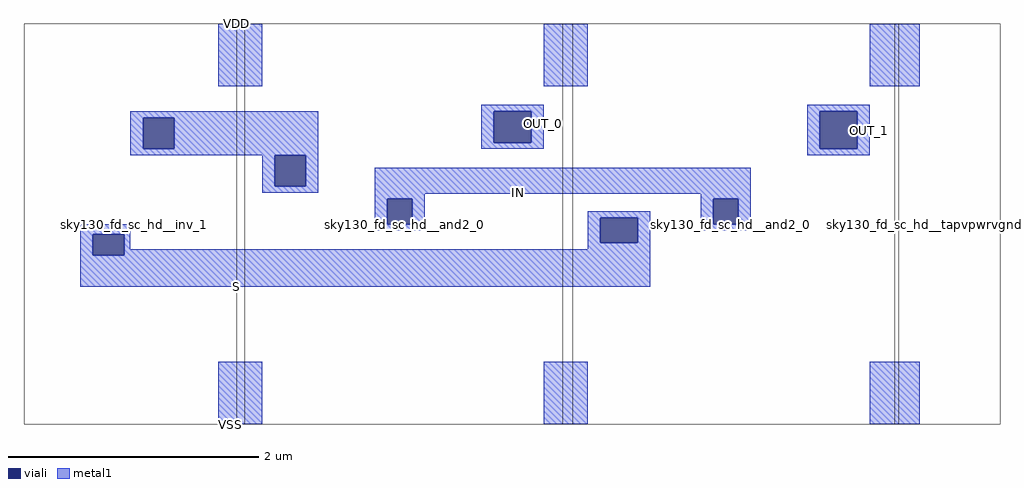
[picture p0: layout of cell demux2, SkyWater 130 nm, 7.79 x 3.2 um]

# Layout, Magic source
magic
tech sky130A
<< viali >>
rect 65 470 90 495
rect 345 475 375 500
rect 605 470 635 500
rect 170 440 195 465
rect 260 410 280 430
rect 25 385 50 402
rect 430 395 460 415
rect 520 410 540 430
<< metal1 >>
rect 125 520 160 570
rect 385 520 420 570
rect 645 520 685 570
rect 335 500 385 505
rect 55 495 205 500
rect 55 470 65 495
rect 90 470 205 495
rect 335 475 345 500
rect 375 475 385 500
rect 335 470 385 475
rect 595 500 645 505
rect 595 470 605 500
rect 635 470 645 500
rect 55 465 205 470
rect 595 465 645 470
rect 160 440 170 465
rect 195 440 205 465
rect 160 435 205 440
rect 250 434 550 455
rect 250 430 290 434
rect 250 410 260 430
rect 280 410 290 430
rect 510 430 550 434
rect 15 402 55 410
rect 250 405 290 410
rect 420 415 470 420
rect 15 385 25 402
rect 50 390 55 402
rect 420 395 430 415
rect 460 395 470 415
rect 510 410 520 430
rect 540 410 550 430
rect 510 405 550 410
rect 420 390 470 395
rect 50 385 470 390
rect 15 360 470 385
rect 125 250 160 300
rect 385 250 420 300
rect 645 250 685 300
use sky130_fd_sc_hd__tapvpwrvgnd_1  sky130_fd_sc_hd__tapvpwrvgnd_1_0 $PDKPATH/libs.ref/sky130_fd_sc_hd/mag
transform 1 0 684 0 1 274
box -19 -24 65 296
use sky130_fd_sc_hd__and2_0  x1 $PDKPATH/libs.ref/sky130_fd_sc_hd/mag
transform 1 0 159 0 1 274
box -19 -24 249 296
use sky130_fd_sc_hd__and2_0  x2
transform 1 0 419 0 1 274
box -19 -24 249 296
use sky130_fd_sc_hd__inv_1  x3 $PDKPATH/libs.ref/sky130_fd_sc_hd/mag
transform 1 0 -11 0 1 274
box -19 -24 157 296
<< labels >>
rlabel metal1 140 570 140 570 5 VDD
port 1 s
rlabel metal1 135 250 135 250 1 VSS
port 2 n
rlabel metal1 140 360 140 360 1 S
port 3 n
rlabel metal1 365 435 365 435 1 IN
port 4 n
rlabel metal1 645 485 645 485 3 OUT_1
port 6 e
rlabel metal1 385 490 385 490 3 OUT_0
port 5 e
<< end >>
